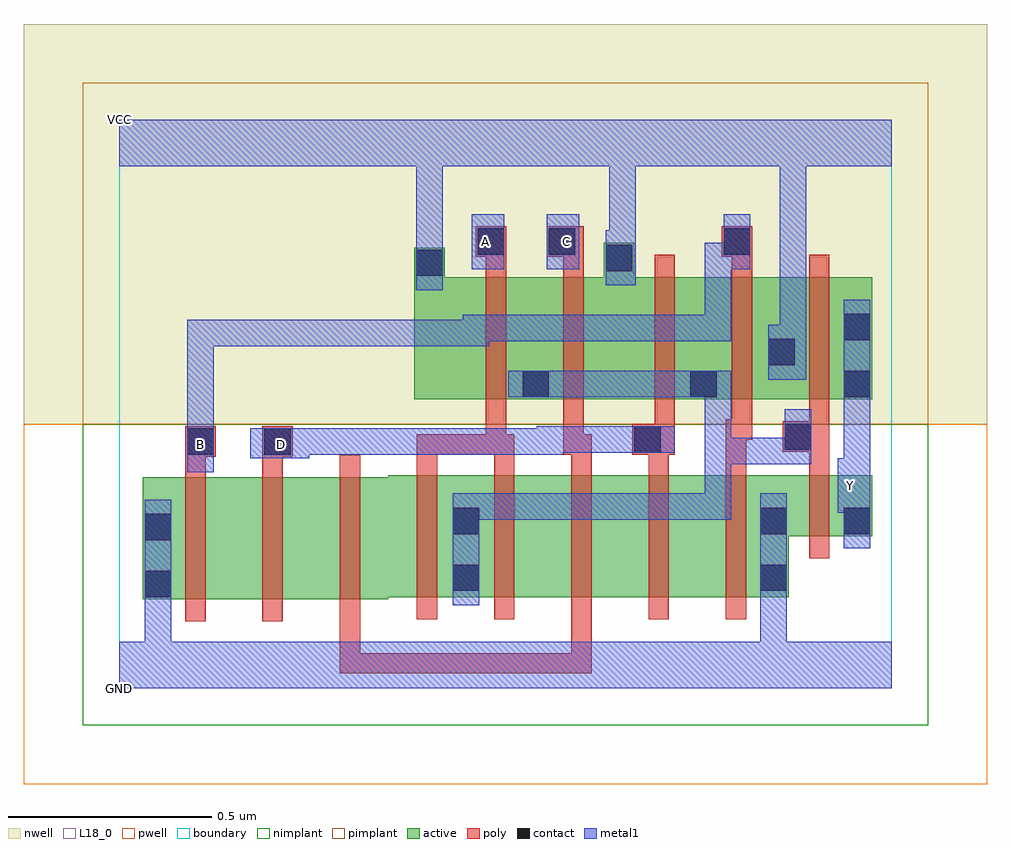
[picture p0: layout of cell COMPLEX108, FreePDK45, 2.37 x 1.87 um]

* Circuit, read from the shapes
.subckt COMPLEX108 A B C D GND VCC Y
M1 n1 B GND VSUBS nfet w=0.3u l=0.05u
M2 n2 D n1 VSUBS nfet w=0.3u l=0.05u
M3 n3 C n2 VSUBS nfet w=0.3u l=0.05u
M4 n4 A n3 VSUBS nfet w=0.3u l=0.05u
M5 n5 A n4 VSUBS nfet w=0.3u l=0.05u
M6 n6 C n5 VSUBS nfet w=0.3u l=0.05u
M7 n7 D n6 VSUBS nfet w=0.3u l=0.05u
M8 GND B n7 VSUBS nfet w=0.3u l=0.05u
M9 Y n4 GND VSUBS nfet w=0.15u l=0.05u
M10 n4 A VCC n8 pfet w=0.3u l=0.05u
M11 VCC C n4 n8 pfet w=0.3u l=0.05u
M12 n4 D VCC n8 pfet w=0.3u l=0.05u
M13 VCC B n4 n8 pfet w=0.3u l=0.05u
M14 Y n4 VCC n8 pfet w=0.3u l=0.05u
.ends

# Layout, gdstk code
import gdstk
lib = gdstk.Library(unit=1e-6, precision=1e-09)
def R(c, l, rs):  # rectangles x0, y0, x1, y1
    for r in rs: c.add(gdstk.rectangle(r[:2], r[2:], *l))
def A(c, l, x, y, w, h, nx, ny, dx, dy):  # array of equal rectangles
    R(c, l, [(x+i*dx, y+j*dy, x+i*dx+w, y+j*dy+h) for i in range(nx) for j in range(ny)])
active = (1, 0)
pwell = (2, 0)
nwell = (3, 0)
nimplant = (4, 0)
pimplant = (5, 0)
poly = (9, 0)
contact = (10, 0)
metal1 = (11, 0)
L18_0 = (18, 0)
boundary = (235, 0)

complex108 = lib.new_cell('COMPLEX108')
R(complex108, active, [(0.057,0.22,0.282,0.52), (0.057,0.22,0.132,0.52), (0.282,0.22,0.472,0.52), (0.472,0.22,0.662,0.52), (0.662,0.225,0.89,0.525), (0.815,0.225,1.042,0.525), (0.815,0.225,0.89,0.517), (1.042,0.225,1.232,0.525), (1.232,0.225,1.422,0.525), (1.422,0.225,1.647,0.525), (1.572,0.225,1.647,0.45), (1.572,0.375,1.852,0.525), (1.777,0.375,1.852,0.525), (0.725,0.712,1.062,1.012), (0.725,0.712,0.8,1.085), (0.987,0.712,1.267,1.012), (0.987,0.712,1.062,0.877), (1.192,0.712,1.475,1.012), (1.4,0.712,1.667,1.012), (1.4,0.712,1.475,1.005), (1.592,0.712,1.852,1.012), (1.777,0.712,1.852,1.012), (1.592,0.79,1.667,1.012), (1.192,0.832,1.267,1.097)])
R(complex108, pwell, [(-0.235,-0.235,2.135,0.65)])
R(complex108, nwell, [(-0.235,0.65,2.135,1.635)])
R(complex108, nimplant, [(-0.09,-0.09,1.99,0.65)])
R(complex108, pimplant, [(-0.09,0.65,1.99,1.49)])
A(complex108, poly, 0.162, 0.165, 0.05, 0.41, 3, 1, 0.19, 0)
A(complex108, poly, 0.732, 0.17, 0.05, 0.41, 5, 1, 0.19, 0)
A(complex108, poly, 0.732, 0.53, 0.05, 0.095, 4, 1, 0.19, 0)
A(complex108, poly, 1.317, 0.657, 0.05, 0.41, 3, 1, 0.19, 0)
R(complex108, poly, [(0.542,0.037,0.592,0.087), (0.542,0.037,0.592,0.087), (0.542,0.037,0.592,0.087), (0.542,0.037,0.742,0.087), (0.542,0.037,0.592,0.215), (0.692,0.037,0.742,0.087), (0.692,0.037,0.965,0.087), (0.915,0.037,0.965,0.087), (0.915,0.037,0.965,0.087), (0.915,0.037,0.965,0.087), (0.915,0.037,1.162,0.087), (1.112,0.037,1.162,0.22), (1.112,0.037,1.162,0.087), (1.112,0.037,1.162,0.087), (1.112,0.037,1.162,0.087), (1.697,0.32,1.747,0.58), (0.162,0.525,0.212,0.62), (0.352,0.525,0.402,0.62), (1.492,0.53,1.542,0.662), (1.697,0.53,1.747,0.632), (0.162,0.57,0.237,0.645), (0.352,0.57,0.427,0.645), (0.732,0.575,0.782,0.625), (0.732,0.575,0.782,0.625), (0.732,0.575,0.782,0.625), (0.732,0.575,0.952,0.625), (0.902,0.575,0.952,0.707), (0.902,0.575,0.972,0.625), (1.092,0.575,1.142,0.707), (1.092,0.575,1.162,0.625), (1.262,0.575,1.367,0.65), (1.632,0.582,1.747,0.657), (1.317,0.6,1.367,0.707), (1.697,0.607,1.747,0.707), (1.492,0.612,1.557,0.662), (1.507,0.612,1.557,0.707), (0.902,0.657,0.952,1.067), (1.092,0.657,1.142,1.067), (0.902,1.017,0.952,1.112), (1.092,1.017,1.142,1.112), (1.507,1.017,1.557,1.112), (0.877,1.062,0.952,1.137), (1.052,1.062,1.142,1.137), (1.482,1.062,1.557,1.137)])
R(complex108, contact, [(0.062,0.225,0.127,0.29), (0.82,0.24,0.885,0.305), (1.577,0.24,1.642,0.305), (0.062,0.365,0.127,0.43), (0.82,0.38,0.885,0.445), (1.577,0.38,1.642,0.445), (1.782,0.38,1.847,0.445), (0.167,0.575,0.232,0.64), (0.357,0.575,0.422,0.64), (1.267,0.58,1.332,0.645), (1.637,0.587,1.702,0.652), (0.992,0.717,1.057,0.782), (1.405,0.717,1.47,0.782), (1.782,0.717,1.847,0.782), (1.597,0.795,1.662,0.86), (1.782,0.857,1.847,0.922), (0.73,1.015,0.795,1.08), (1.197,1.027,1.262,1.092), (0.882,1.067,0.947,1.132), (1.057,1.067,1.122,1.132), (1.487,1.067,1.552,1.132)])
R(complex108, metal1, [(0,0,1.9,0.115), (0.062,0.05,0.127,0.115), (0.062,0.05,0.127,0.115), (0.062,0.05,0.127,0.255), (1.577,0.05,1.642,0.115), (1.577,0.05,1.642,0.115), (1.577,0.05,1.642,0.27), (0.062,0.19,0.127,0.465), (0.82,0.205,0.885,0.48), (1.577,0.205,1.642,0.48), (1.782,0.345,1.847,0.48), (0.82,0.415,0.885,0.48), (0.82,0.415,0.885,0.48), (0.82,0.415,1.092,0.48), (1.027,0.415,1.092,0.48), (1.027,0.415,1.092,0.48), (1.027,0.415,1.092,0.48), (1.027,0.415,1.27,0.48), (1.205,0.415,1.27,0.48), (1.205,0.415,1.27,0.48), (1.205,0.415,1.27,0.48), (1.205,0.415,1.505,0.48), (1.44,0.415,1.505,0.48), (1.44,0.415,1.505,0.617), (1.782,0.415,1.847,0.497), (1.767,0.432,1.847,0.567), (1.782,0.502,1.847,0.747), (0.167,0.532,0.232,0.675), (1.44,0.552,1.505,0.617), (1.44,0.552,1.505,0.617), (1.44,0.552,1.505,0.617), (1.44,0.552,1.695,0.617), (1.44,0.552,1.505,0.782), (1.63,0.552,1.702,0.617), (1.63,0.552,1.695,0.617), (1.637,0.552,1.702,0.687), (0.322,0.567,0.467,0.64), (0.402,0.575,0.467,0.64), (0.402,0.575,0.467,0.64), (0.402,0.575,0.605,0.64), (0.54,0.575,0.605,0.64), (0.54,0.575,0.605,0.64), (0.54,0.575,0.605,0.64), (0.54,0.575,0.747,0.64), (0.682,0.575,0.747,0.64), (0.682,0.575,0.885,0.64), (0.82,0.575,0.885,0.64), (0.82,0.575,0.885,0.64), (0.82,0.575,0.885,0.64), (0.82,0.575,1.092,0.64), (1.027,0.575,1.092,0.645), (1.027,0.58,1.092,0.645), (1.027,0.58,1.092,0.645), (1.027,0.58,1.297,0.645), (1.232,0.58,1.297,0.645), (1.232,0.58,1.297,0.645), (1.232,0.58,1.367,0.645), (0.167,0.61,0.232,0.675), (0.167,0.61,0.232,0.675), (0.167,0.61,0.232,0.907), (1.782,0.682,1.847,0.957), (0.957,0.717,1.092,0.782), (1.027,0.717,1.092,0.782), (1.027,0.717,1.092,0.782), (1.027,0.717,1.27,0.782), (1.205,0.717,1.27,0.782), (1.205,0.717,1.27,0.782), (1.205,0.717,1.27,0.782), (1.205,0.717,1.435,0.782), (1.37,0.717,1.505,0.782), (1.597,0.76,1.69,0.895), (1.625,0.83,1.69,1.35), (1.625,0.83,1.69,0.895), (1.625,0.83,1.69,0.895), (0.167,0.842,0.232,0.907), (0.167,0.842,0.467,0.907), (0.402,0.842,0.467,0.907), (0.402,0.842,0.467,0.907), (0.402,0.842,0.467,0.907), (0.402,0.842,0.605,0.907), (0.54,0.842,0.605,0.907), (0.54,0.842,0.605,0.907), (0.54,0.842,0.605,0.907), (0.54,0.842,0.747,0.907), (0.682,0.842,0.747,0.907), (0.682,0.842,0.747,0.907), (0.682,0.842,0.747,0.907), (0.682,0.842,0.747,0.907), (0.682,0.842,0.747,0.907), (0.682,0.842,0.91,0.907), (0.845,0.842,0.91,0.92), (0.845,0.855,1.092,0.92), (1.027,0.855,1.092,0.92), (1.027,0.855,1.092,0.92), (1.027,0.855,1.092,0.92), (1.027,0.855,1.27,0.92), (1.205,0.855,1.27,0.92), (1.205,0.855,1.27,0.92), (1.205,0.855,1.27,0.92), (1.205,0.855,1.505,0.92), (1.44,0.855,1.505,0.92), (1.44,0.855,1.505,0.92), (1.44,0.855,1.505,0.92), (1.44,0.855,1.505,1.097), (0.73,0.98,0.795,1.115), (1.197,0.992,1.27,1.127), (0.867,1.032,0.947,1.167), (1.052,1.032,1.132,1.167), (1.44,1.032,1.505,1.097), (1.44,1.032,1.552,1.097), (1.487,1.032,1.552,1.167), (0.73,1.05,0.795,1.115), (0.73,1.05,0.795,1.115), (0.73,1.05,0.795,1.115), (0.73,1.05,0.795,1.115), (0.73,1.05,0.795,1.35), (1.205,1.062,1.27,1.35), (0,1.285,1.9,1.4), (1.205,1.285,1.27,1.35), (1.205,1.285,1.27,1.35), (1.205,1.285,1.27,1.35), (1.205,1.285,1.27,1.35), (1.625,1.285,1.69,1.35), (1.625,1.285,1.69,1.35)])
R(complex108, L18_0, [(0,0,1.9,0.115), (0.062,0.05,0.127,0.115), (0.062,0.05,0.127,0.115), (0.062,0.05,0.127,0.255), (1.577,0.05,1.642,0.115), (1.577,0.05,1.642,0.115), (1.577,0.05,1.642,0.27), (0.062,0.19,0.127,0.465), (1.577,0.205,1.642,0.48), (1.782,0.345,1.847,0.48), (1.782,0.415,1.847,0.497), (1.767,0.432,1.847,0.567), (1.767,0.467,1.832,0.532), (1.782,0.502,1.847,0.747), (0.167,0.532,0.232,0.675), (0.167,0.567,0.232,0.632), (0.322,0.567,0.467,0.64), (0.367,0.567,0.432,0.632), (0.402,0.575,0.467,0.64), (0.402,0.575,0.467,0.64), (0.402,0.575,0.605,0.64), (0.54,0.575,0.605,0.64), (0.54,0.575,0.605,0.64), (0.54,0.575,0.605,0.64), (0.54,0.575,0.747,0.64), (0.682,0.575,0.747,0.64), (0.682,0.575,0.885,0.64), (0.82,0.575,0.885,0.64), (0.82,0.575,0.885,0.64), (0.82,0.575,0.885,0.64), (0.82,0.575,1.092,0.64), (1.027,0.575,1.092,0.645), (1.027,0.58,1.092,0.645), (1.027,0.58,1.092,0.645), (1.027,0.58,1.297,0.645), (1.232,0.58,1.297,0.645), (1.232,0.58,1.297,0.645), (1.232,0.58,1.367,0.645), (0.167,0.61,0.232,0.675), (0.167,0.61,0.232,0.675), (0.167,0.61,0.232,0.907), (1.782,0.682,1.847,0.957), (1.597,0.76,1.69,0.895), (1.625,0.83,1.69,0.895), (1.625,0.83,1.69,0.895), (1.625,0.83,1.69,1.35), (0.167,0.842,0.232,0.907), (0.167,0.842,0.467,0.907), (0.402,0.842,0.467,0.907), (0.402,0.842,0.467,0.907), (0.402,0.842,0.467,0.907), (0.402,0.842,0.605,0.907), (0.54,0.842,0.605,0.907), (0.54,0.842,0.605,0.907), (0.54,0.842,0.605,0.907), (0.54,0.842,0.747,0.907), (0.682,0.842,0.747,0.907), (0.682,0.842,0.747,0.907), (0.682,0.842,0.747,0.907), (0.682,0.842,0.747,0.907), (0.682,0.842,0.747,0.907), (0.682,0.842,0.91,0.907), (0.845,0.842,0.91,0.92), (0.845,0.855,1.092,0.92), (1.027,0.855,1.092,0.92), (1.027,0.855,1.092,0.92), (1.027,0.855,1.092,0.92), (1.027,0.855,1.27,0.92), (1.205,0.855,1.27,0.92), (1.205,0.855,1.27,0.92), (1.205,0.855,1.27,0.92), (1.205,0.855,1.505,0.92), (1.44,0.855,1.505,0.92), (1.44,0.855,1.505,0.92), (1.44,0.855,1.505,0.92), (1.44,0.855,1.505,1.097), (0.73,0.98,0.795,1.115), (1.197,0.992,1.27,1.127), (0.867,1.032,0.947,1.167), (1.052,1.032,1.132,1.167), (1.44,1.032,1.505,1.097), (1.44,1.032,1.552,1.097), (1.487,1.032,1.552,1.167), (0.73,1.05,0.795,1.115), (0.73,1.05,0.795,1.115), (0.73,1.05,0.795,1.115), (0.73,1.05,0.795,1.115), (0.73,1.05,0.795,1.35), (1.205,1.062,1.27,1.35), (0.867,1.067,0.932,1.132), (1.067,1.067,1.132,1.132), (0,1.285,1.9,1.4), (1.205,1.285,1.27,1.35), (1.205,1.285,1.27,1.35), (1.205,1.285,1.27,1.35), (1.205,1.285,1.27,1.35), (1.625,1.285,1.69,1.35), (1.625,1.285,1.69,1.35)])
R(complex108, boundary, [(0,0,1.9,1.4)])
complex108.add(gdstk.Label('A', (0.9,1.1), layer=11, texttype=0))
complex108.add(gdstk.Label('B', (0.2,0.6), layer=11, texttype=0))
complex108.add(gdstk.Label('C', (1.1,1.1), layer=11, texttype=0))
complex108.add(gdstk.Label('D', (0.4,0.6), layer=11, texttype=0))
complex108.add(gdstk.Label('Y', (1.8,0.5), layer=11, texttype=0))
complex108.add(gdstk.Label('VCC', (0,1.4), layer=11, texttype=0))
complex108.add(gdstk.Label('GND', (0,0), layer=11, texttype=0))

lib.write_gds('COMPLEX108.gds')
